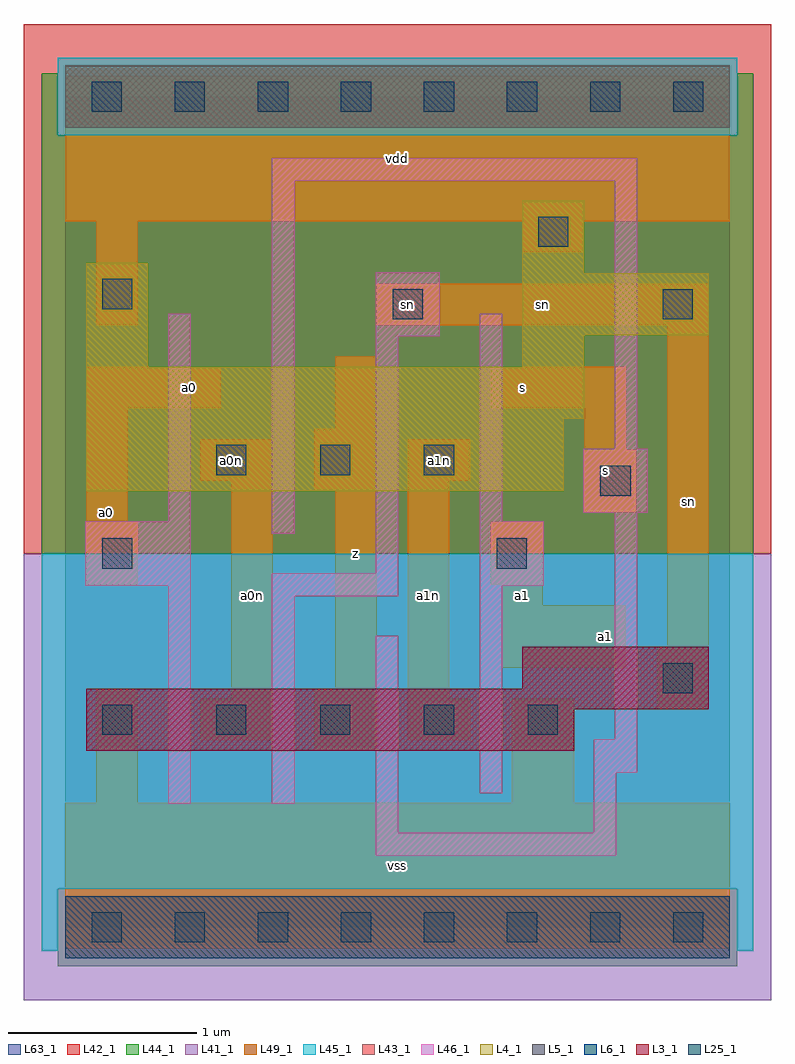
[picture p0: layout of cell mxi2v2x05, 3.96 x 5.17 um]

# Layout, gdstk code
import gdstk
lib = gdstk.Library(unit=1e-6, precision=1e-09)
def R(c, l, rs):  # rectangles x0, y0, x1, y1
    for r in rs: c.add(gdstk.rectangle(r[:2], r[2:], *l))
def A(c, l, x, y, w, h, nx, ny, dx, dy):  # array of equal rectangles
    R(c, l, [(x+i*dx, y+j*dy, x+i*dx+w, y+j*dy+h) for i in range(nx) for j in range(ny)])
L3_1 = (3, 1)
L4_1 = (4, 1)
L5_1 = (5, 1)
L6_1 = (6, 1)
L25_1 = (25, 1)
L41_1 = (41, 1)
L42_1 = (42, 1)
L43_1 = (43, 1)
L44_1 = (44, 1)
L45_1 = (45, 1)
L46_1 = (46, 1)
L49_1 = (49, 1)
L63_1 = (63, 1)

mxi2v2x05 = lib.new_cell('mxi2v2x05')
R(mxi2v2x05, L3_1, [(0.11,0.935,2.695,1.155), (0.11,1.155,3.41,1.265), (2.42,1.265,3.41,1.485)])
R(mxi2v2x05, L4_1, [(0.11,2.31,2.64,2.695), (0.11,2.695,2.75,2.97), (0.11,2.97,0.44,3.52), (2.42,2.97,2.75,3.135), (2.42,3.135,3.41,3.465), (2.42,3.465,2.75,3.85)])
R(mxi2v2x05, L5_1, [(0,4.235,3.52,4.565)])
R(mxi2v2x05, L6_1, [(0,-0.165,3.52,0.165)])
A(mxi2v2x05, L25_1, 0.14, -0.08, 0.16, 0.16, 8, 2, 0.44, 4.4)
A(mxi2v2x05, L25_1, 0.8, 1.02, 0.16, 0.16, 4, 1, 0.55, 0)
A(mxi2v2x05, L25_1, 0.8, 2.395, 0.16, 0.16, 3, 1, 0.55, 0)
R(mxi2v2x05, L25_1, [(0.195,1.02,0.355,1.18), (3.165,1.24,3.325,1.4), (0.195,1.9,0.355,2.06), (2.285,1.9,2.445,2.06), (2.835,2.285,2.995,2.445), (1.735,3.22,1.895,3.38), (3.165,3.22,3.325,3.38), (0.195,3.275,0.355,3.435), (2.505,3.605,2.665,3.765)])
R(mxi2v2x05, L41_1, [(-0.22,-0.385,3.74,1.98)])
R(mxi2v2x05, L42_1, [(-0.22,1.98,3.74,4.785)])
R(mxi2v2x05, L43_1, [(0,-0.165,3.52,0.165), (0.11,0.935,2.695,1.155), (0.11,1.155,3.41,1.265), (2.42,1.265,3.41,1.485), (0.11,2.31,2.64,2.695), (0.11,2.695,2.75,2.97), (0.11,2.97,0.44,3.52), (2.42,2.97,2.75,3.135), (2.42,3.135,3.41,3.465), (2.42,3.465,2.75,3.85), (0,4.235,3.52,4.565)])
R(mxi2v2x05, L44_1, [(-0.04,-0.205,3.56,0.205), (-0.125,1.98,3.645,4.195), (-0.125,4.195,-0.04,4.525), (3.56,4.195,3.645,4.525)])
R(mxi2v2x05, L45_1, [(-0.125,-0.125,-0.04,0.205), (3.56,-0.125,3.645,0.205), (-0.125,0.205,3.645,1.98), (-0.04,4.195,3.56,4.605)])
R(mxi2v2x05, L46_1, [(1.645,0.38,2.92,0.5), (1.645,0.5,1.765,1.545), (2.8,0.5,2.92,0.82), (0.545,0.655,0.665,1.81), (1.095,0.655,1.215,1.755), (2.195,0.71,2.315,1.81), (2.8,0.82,3.03,0.995), (2.91,0.995,3.03,2.195), (1.095,1.755,1.765,1.875), (0.105,1.81,0.665,2.15), (2.195,1.81,2.535,2.15), (1.645,1.875,1.765,3.13), (1.095,2.085,1.215,3.955), (0.545,2.15,0.665,3.25), (2.195,2.15,2.315,3.25), (2.745,2.195,3.085,2.535), (2.91,2.535,3.03,3.955), (1.645,3.13,1.985,3.47), (1.095,3.955,3.03,4.075)])
R(mxi2v2x05, L49_1, [(0,-0.11,3.52,0.66), (0.165,0.66,0.385,1.265), (2.365,0.66,2.695,1.21), (1.32,0.935,1.65,1.265), (0.715,0.99,1.1,1.21), (1.815,0.99,2.145,1.21), (3.135,1.155,3.41,1.485), (0.88,1.21,1.1,2.365), (1.815,1.21,2.035,2.365), (1.43,1.265,1.65,2.31), (2.31,1.375,2.97,1.705), (3.19,1.485,3.41,3.19), (2.31,1.705,2.53,1.815), (0.11,1.815,0.385,2.145), (2.255,1.815,2.53,2.145), (0.11,2.145,0.33,2.75), (2.75,2.2,3.025,2.53), (1.32,2.31,1.65,2.64), (0.715,2.365,1.1,2.585), (1.815,2.365,2.145,2.585), (2.75,2.53,2.97,2.75), (1.43,2.64,1.65,3.025), (0.11,2.75,0.825,2.97), (2.255,2.75,2.97,2.97), (0.165,3.19,0.385,3.74), (1.65,3.19,3.41,3.41), (2.42,3.575,2.75,3.74), (0,3.74,3.52,4.51)])
R(mxi2v2x05, L63_1, [(0,0,3.52,4.4)])
mxi2v2x05.add(gdstk.Label('sn', (1.815,3.3), layer=49, texttype=1))
mxi2v2x05.add(gdstk.Label('a0', (0.22,2.2), layer=49, texttype=1))
mxi2v2x05.add(gdstk.Label('a0n', (0.99,1.76), layer=49, texttype=1))
mxi2v2x05.add(gdstk.Label('a0n', (0.88,2.475), layer=49, texttype=1))
mxi2v2x05.add(gdstk.Label('a0', (0.66,2.86), layer=49, texttype=1))
mxi2v2x05.add(gdstk.Label('vss', (1.76,0.33), layer=49, texttype=1))
mxi2v2x05.add(gdstk.Label('a1n', (1.925,1.76), layer=49, texttype=1))
mxi2v2x05.add(gdstk.Label('z', (1.54,1.98), layer=49, texttype=1))
mxi2v2x05.add(gdstk.Label('vdd', (1.76,4.07), layer=49, texttype=1))
mxi2v2x05.add(gdstk.Label('a1', (2.42,1.76), layer=49, texttype=1))
mxi2v2x05.add(gdstk.Label('a1n', (1.98,2.475), layer=49, texttype=1))
mxi2v2x05.add(gdstk.Label('s', (2.42,2.86), layer=49, texttype=1))
mxi2v2x05.add(gdstk.Label('a1', (2.86,1.54), layer=49, texttype=1))
mxi2v2x05.add(gdstk.Label('s', (2.86,2.42), layer=49, texttype=1))
mxi2v2x05.add(gdstk.Label('sn', (3.3,2.255), layer=49, texttype=1))
mxi2v2x05.add(gdstk.Label('sn', (2.53,3.3), layer=49, texttype=1))

lib.write_gds('mxi2v2x05.gds')
